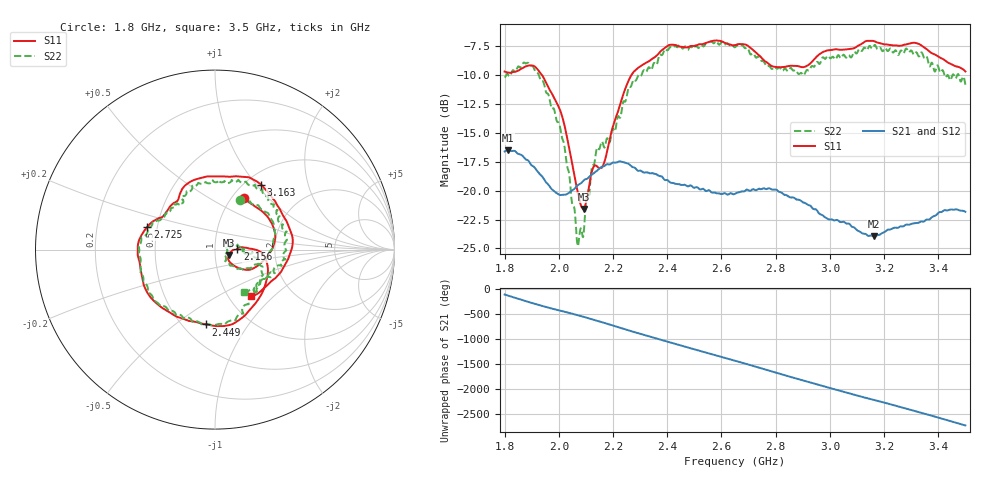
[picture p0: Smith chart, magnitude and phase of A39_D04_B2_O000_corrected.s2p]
! Created with skrf 1.9.0 (http://scikit-rf.org).
# Hz S RI R 50.0
!freq ReS11 ImS11 ReS21 ImS21 ReS12 ImS12 ReS22 ImS22
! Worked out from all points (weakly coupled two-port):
!   1601 points, 1.8 GHz to 3.5 GHz, reference 50 ohm
!   highest |S21| = -16.51 dB at 1.812 GHz (marker M1); lowest = -24.0 dB at 3.162 GHz (marker M2)
!   lowest |S11| = -21.6 dB at 2.091 GHz (marker M3), VSWR 1.18, Z = 58.3 - j3.44 ohm
!   |S11| at or under -10 dB: 1.938 GHz to 2.268 GHz (329.2 MHz wide, 15.7 % of centre)
!   |S22| runs from -24.8 to -7.1 dB; largest |S21 - S12| = 0.0024
!   S11 on the Smith chart (normalised r, x): 1.8 GHz: 1.14, +0.73; 2.156 GHz: 1.29, +0.01; 2.449 GHz: 0.65, -0.65; 2.725 GHz: 0.44, +0.13; 3.163 GHz: 1.18, +1.06; 3.5 GHz: 1.26, -0.74
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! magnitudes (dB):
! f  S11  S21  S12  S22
! 1.8 GHz  -9.7  -16.6  -16.6  -10.2
! 1.812 GHz  -9.8  -16.5  -16.5  -9.9
! 1.883 GHz  -9.2  -17.3  -17.3  -8.9
! 1.942 GHz  -10.2  -18.9  -18.9  -10.6
! 2.011 GHz  -13.5  -20.4  -20.4  -15.4
! 2.068 GHz  -19.9  -19.6  -19.6  -24.6
! 2.084 GHz  -21.4  -19.3  -19.3  -23.4
! 2.091 GHz  -21.6  -19.1  -19.2  -23.8
! 2.127 GHz  -18.0  -18.5  -18.5  -17.8
! 2.156 GHz  -18.0  -18.0  -18.0  -15.9
! 2.189 GHz  -15.4  -17.7  -17.7  -15.8
! 2.262 GHz  -10.2  -17.8  -17.8  -11.0
! 2.367 GHz  -8.2  -18.7  -18.6  -8.5
! 2.449 GHz  -7.5  -19.5  -19.5  -7.5
! 2.65 GHz  -7.4  -20.3  -20.2  -7.6
! 2.725 GHz  -8.0  -20.0  -19.9  -8.4
! 2.797 GHz  -9.3  -19.9  -19.9  -9.3
! 2.934 GHz  -8.8  -21.5  -21.4  -9.2
! 3.162 GHz  -7.0  -24.0  -23.9  -7.5
! 3.163 GHz  -7.1  -24.0  -23.9  -7.4
! 3.217 GHz  -7.4  -23.4  -23.3  -7.8
! 3.5 GHz  -9.7  -21.8  -21.8  -10.8
